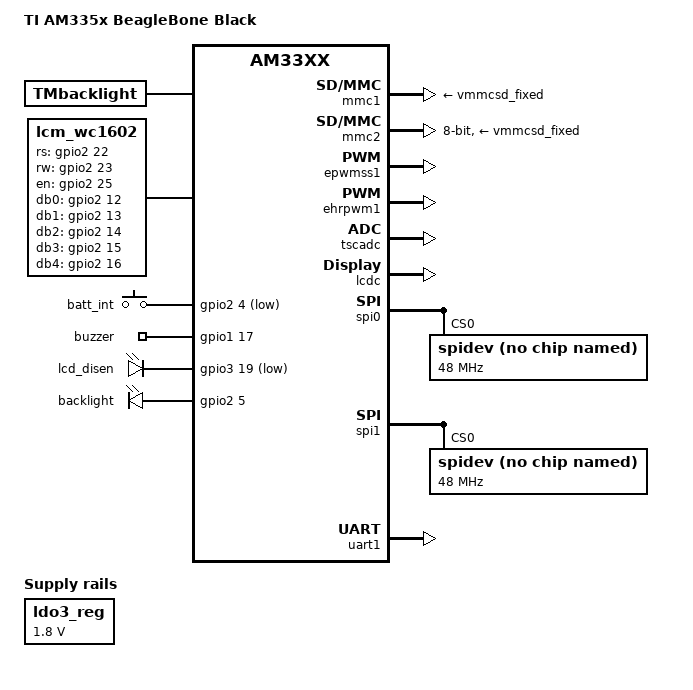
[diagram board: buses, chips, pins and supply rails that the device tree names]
/*
 * Copyright (C) 2012 Texas Instruments Incorporated - http://www.ti.com/
 *
 * This program is free software; you can redistribute it and/or modify
 * it under the terms of the GNU General Public License version 2 as
 * published by the Free Software Foundation.
 */
/dts-v1/;

#include "am33xx.dtsi"
#include "am335x-bone-common.dtsi"
#include "am335x-bone-pinmux-panel-800x480-24bit.dtsi"

#include "dt-bindings/input/input.h"

/ {
	model = "TI AM335x BeagleBone Black";
	compatible = "ti,am335x-bone-black", "ti,am335x-bone", "ti,am33xx";
};

&ldo3_reg {
	regulator-min-microvolt = <1800000>;
	regulator-max-microvolt = <1800000>;
	regulator-always-on;
};

&mmc1 {
	vmmc-supply = <&vmmcsd_fixed>;
};

&mmc2 {
	vmmc-supply = <&vmmcsd_fixed>;
	pinctrl-names = "default";
	pinctrl-0 = <&emmc_pins>;
	bus-width = <8>;
	status = "okay";
};

&am33xx_pinmux {
	bb_lcd_pwm_backlight_pins: pinmux_bb_lcd_pwm_backlight_pins {
		pinctrl-single,pins = <
			/* BONE_P9_14 (PIN_OUTPUT_PULLDOWN | MUX_MODE6) *//* gpmc_a2.ehrpwm1a */
		>;
	};

	am335x_spi0_pins: pinmux_am335x_spi0_pins {
		pinctrl-single,pins = <
			BONE_P9_22 (PIN_INPUT_PULLUP | MUX_MODE0)		/* spi0_sclk.spi0_sclk */
			BONE_P9_21 (PIN_INPUT_PULLUP | MUX_MODE0)		/* spi0_d0.spi0_d0 */
			BONE_P9_18 (PIN_INPUT_PULLUP | MUX_MODE0)		/* spi0_d1.spi0_d1 */
			BONE_P9_17 (PIN_INPUT_PULLUP | MUX_MODE0)		/* spi0_cs0.spi0_cs0 */
		>;
	};

	am335x_spi1_pins: pinmux_am335x_spi1_pins {
		pinctrl-single,pins = <
			BONE_P9_31 (PIN_INPUT_PULLUP | MUX_MODE3)		/* mcasp0_aclkx.spi1_sclk */
			BONE_P9_29 (PIN_INPUT_PULLUP | MUX_MODE3)		/* mcasp0_fsx.spi1_d0 */
			BONE_P9_30 (PIN_INPUT_PULLUP | MUX_MODE3)		/* mcasp0_axr0.spi1_d1 */
			BONE_P9_28 (PIN_INPUT_PULLUP | MUX_MODE3)		/* mcasp0_ahclkr.spi1_cs0 */
		>;
	};

	uart1_pins: pinmux_uart1_pins {
		pinctrl-single,pins = <
			BONE_P9_24 (PIN_OUTPUT_PULLUP | MUX_MODE0)		/* uart1_txd.uart1_txd */
			BONE_P9_26 (PIN_INPUT_PULLUP | MUX_MODE0)		/* uart1_rxd.uart1_rxd */
		>;
	};

	led_pins: pinmux_led_pins {
		pinctrl-single,pins = <
			/* PWM_BUZZER */
			BONE_P9_23 (PIN_OUTPUT_PULLUP | MUX_MODE7)
			/* PWR_KILL */
			BONE_P9_25 (PIN_OUTPUT_PULLUP | MUX_MODE7)
			/* LCD_DISEN */
			BONE_P9_27 (PIN_OUTPUT_PULLUP | MUX_MODE7)
			/* PWM_LCD, Backlight */
			BONE_P8_09 (PIN_OUTPUT_PULLUP | MUX_MODE2)
		>;
	};

	key_pins: pinmux_key_pins {
		pinctrl-single,pins = <
			/* BATT_INT */
			BONE_P8_10 (PIN_INPUT_PULLUP | MUX_MODE7)
			/* FPGA Programer */
			BONE_P9_11 (PIN_INPUT_PULLUP | MUX_MODE7)
			BONE_P9_12 (PIN_OUTPUT_PULLUP | MUX_MODE7)
			BONE_P9_13 (PIN_OUTPUT_PULLUP | MUX_MODE7)
			BONE_P9_14 (PIN_INPUT_PULLUP | MUX_MODE7)
			BONE_P9_16 (PIN_OUTPUT_PULLUP | MUX_MODE6)
			BONE_P9_42A (PIN_INPUT_PULLUP | MUX_MODE7)
			/* PWR_INTR */
			BONE_P9_15 (PIN_INPUT_PULLUP | MUX_MODE7)
		>;
	};

	wc1602_pins: pinmux_wc1602_pins {
		pinctrl-single,pins = <
			BONE_P8_27 (PIN_OUTPUT_PULLUP | MUX_MODE7)
			BONE_P8_29 (PIN_OUTPUT_PULLUP | MUX_MODE7)
			BONE_P8_30 (PIN_OUTPUT_PULLUP | MUX_MODE7)

			BONE_P8_33 (PIN_INPUT_PULLUP | MUX_MODE7)
			BONE_P8_34 (PIN_INPUT_PULLUP | MUX_MODE7)
			BONE_P8_35 (PIN_INPUT_PULLUP | MUX_MODE7)
			BONE_P8_36 (PIN_INPUT_PULLUP | MUX_MODE7)
			BONE_P8_37 (PIN_INPUT_PULLUP | MUX_MODE7)
			BONE_P8_38 (PIN_INPUT_PULLUP | MUX_MODE7)
			BONE_P8_39 (PIN_INPUT_PULLUP | MUX_MODE7)
			BONE_P8_40 (PIN_INPUT_PULLUP | MUX_MODE7)
		>;
	};
};

&epwmss1 {
    status = "okay";
};

&ehrpwm1 {
    pinctrl-names = "default";
    	pinctrl-0 = <&bb_lcd_pwm_backlight_pins>;
    status = "okay";
};

&tscadc {
    status = "okay";
    tsc {
        ti,wires = <4>;
        ti,x-plate-resistance = <200>;
        ti,coordinate-readouts = <5>;
        ti,wire-config = <0x00 0x11 0x22 0x33>;
    };

    adc {
        ti,adc-channels = <4 5 6 7>;
    };
};

&lcdc {
	status = "okay";
};

/ {
	hdmi {
		compatible = "ti,tilcdc,slave";
		status = "disabled";
	};

	backlight: backlight {
        compatible = "pwm-backlight";
        pwms = <&ehrpwm1 0 50000 0>;
		brightness-levels = <0 51 53 56 62 75 101 152 255>;
        default-brightness-level = <8>;
        status = "disabled";
    };

	TMbacklight: backlight {
		compatible = "TMbacklight";
		pinctrl-names = "default";
		bl,default_frequency = <5000>;
		bl,default_duty = <50>;
		status = "okay";
	};

	panel {
		backlight = <&backlight>;
		status = "disabled";
	};

	lcm: wc1602 {
		compatible = "lcm_wc1602";
		pinctrl-names = "default";
		pinctrl-0 = <&wc1602_pins>;

		rs = <&gpio2 22 GPIO_ACTIVE_HIGH>;
		rw = <&gpio2 23 GPIO_ACTIVE_HIGH>;
		en = <&gpio2 25 GPIO_ACTIVE_HIGH>;
		db0 = <&gpio2 12 GPIO_ACTIVE_HIGH>;
		db1 = <&gpio2 13 GPIO_ACTIVE_HIGH>;
		db2 = <&gpio2 14 GPIO_ACTIVE_HIGH>;
		db3 = <&gpio2 15 GPIO_ACTIVE_HIGH>;
		db4 = <&gpio2 16 GPIO_ACTIVE_HIGH>;
		db5 = <&gpio2 17 GPIO_ACTIVE_HIGH>;
		db6 = <&gpio0 8 GPIO_ACTIVE_HIGH>;
		db7 = <&gpio0 9 GPIO_ACTIVE_HIGH>;
	};

	buttons: user_buttons {
		compatible = "gpio-keys";
		pinctrl-names = "default";
		pinctrl-0 = <&key_pins>;

		batt_int {
			label = "batt_int";
			linux,code = <105>;
			gpios = <&gpio2 4 0x1>;
			gpio-key,wakeup;
		};
	};

	leds: user_leds {
		compatible = "gpio-leds";
		pinctrl-names = "default";
		pinctrl-0 = <&led_pins>;

		buzzer {
			label = "buzzer";
			gpios = <&gpio1 17 GPIO_ACTIVE_HIGH>;
			linux,default-trigger = "none";
			default-state = "off";
		};
		lcd_disen {
			label = "lcd_disen";
			gpios = <&gpio3 19 GPIO_ACTIVE_LOW>;
			linux,default-trigger = "none";
			default-state = "off";
		};
		backlight {
			label = "backlight";
			gpios = <&gpio2 5 GPIO_ACTIVE_HIGH>;
			linux,default-trigger = "none";
			default-state = "on";
		};
	};
};

&rtc {
	system-power-controller;
};

&spi0 {
	pinctrl-names = "default";
	pinctrl-0 = <&am335x_spi0_pins>;
	status = "okay";

	spidev@0 {
		compatible = "spidev";
		spi-max-frequency = <48000000>;
		reg = <0>;
		spi-cpha;
	};
};

&spi1 {
	pinctrl-names = "default";
	pinctrl-0 = <&am335x_spi1_pins>;
	ti,pindir-d0-out-d1-in;
	status = "okay";

	spidev@0 {
		compatible = "spidev";
		spi-max-frequency = <48000000>;
		reg = <0>;
		spi-cpha;
	};
};

&uart1 {
	pinctrl-names = "default";
	pinctrl-0 = <&uart1_pins>;
	status = "okay";
};
